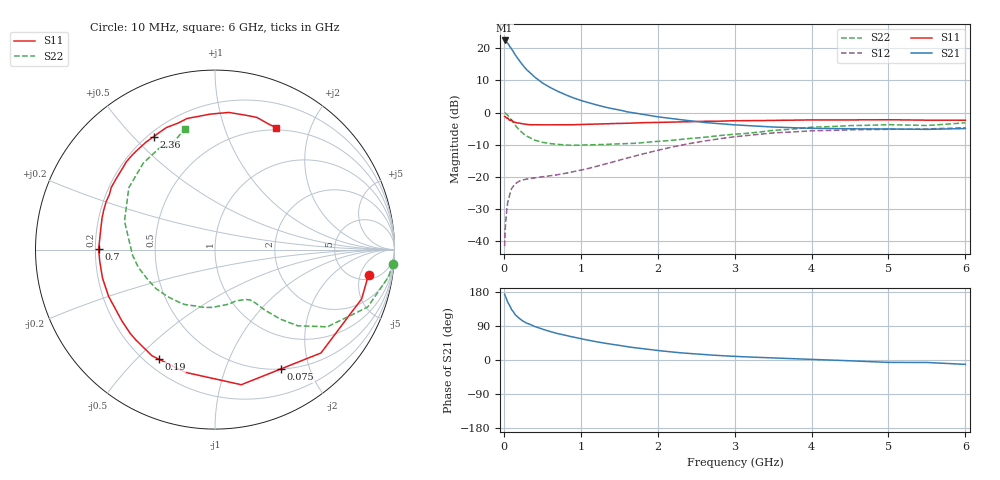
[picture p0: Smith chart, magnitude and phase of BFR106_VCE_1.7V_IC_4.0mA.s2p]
! Infineon Technologies  Discrete & RF Semiconductors
! BFR106
! VCE =  1.7 V,  IC =  4.0 mA
! Common Emitter S-Parameters:  Nov 2015
# GHz  S  MA  R  50
!  f  S11  S21  S12  S22
! GHz  MAG  ANG  MAG  ANG  MAG  ANG  MAG  ANG
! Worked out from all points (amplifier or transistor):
!   210 points, 10 MHz to 6 GHz, reference 50 ohm
!   highest |S21| = 22.5 dB at 10 MHz (marker M1)
!   |S21| within 3 dB of that: start of sweep to 110.7 MHz
!   unconditionally stable (mu >= 1): 656.6 MHz to 2.311 GHz; 3.646 GHz to end of sweep
!   at 185 MHz: K = 0.34, MSG = 19.2 dB, |S12| = -21.6 dB
!   at 1.52 GHz: K = 1.16, MAG = 5.3 dB, |S12| = -14.7 dB
!   at 6 GHz: K = 1.02, MAG = -1.1 dB, |S12| = -4.7 dB
!   S11 on the Smith chart (normalised r, x): 10 MHz: 6.13, -6.92; 75 MHz: 0.50, -1.58; 190 MHz: 0.25, -0.58; 700 MHz: 0.21, +0.00; 2.36 GHz: 0.22, +0.57; 6 GHz: 0.47, +1.51
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0.01  0.8669 -9.3  13.27 173.7  0.0083 86.0  0.992 -4.5
0.02  0.862 -18.6  13.14 168.7  0.0167 80.9  0.9798 -8.8
0.05  0.8248 -44.3  12.04 152.6  0.0395 67.0  0.9089 -20.6
0.075  0.7597 -61.0  10.79 143.9  0.052 57.6  0.8281 -26.9
0.1  0.7669 -79.0  9.861 133.3  0.0654 52.0  0.7595 -34.5
0.15  0.7036 -103.7  7.871 118.8  0.0782 41.9  0.6257 -42.7
0.19  0.686 -117.3  6.728 111.9  0.0838 37.9  0.5544 -45.6
0.2  0.6878 -120.7  6.461 109.8  0.0853 37.0  0.5369 -46.5
0.24  0.6693 -131.1  5.588 104.0  0.0885 34.3  0.4832 -48.5
0.26  0.6639 -135.5  5.223 101.4  0.0899 33.4  0.4616 -49.4
0.3  0.6533 -142.7  4.607 97.0  0.0923 32.4  0.4284 -50.8
0.4  0.6475 -156.3  3.577 88.4  0.0961 32.0  0.3721 -52.9
0.5  0.6464 -165.7  2.898 81.3  0.0995 33.2  0.3437 -54.9
0.7  0.6483 179.8  2.144 69.7  0.1077 38.1  0.3196 -61.4
1.02  0.654 163.6  1.519 55.4  0.128 47.3  0.312 -74.0
1.4  0.6739 149.1  1.154 41.7  0.1675 54.6  0.3223 -92.5
2.02  0.7027 128.8  0.852 24.7  0.2615 54.7  0.3566 -125.7
2.36  0.7166 118.5  0.759 18.0  0.3199 50.7  0.3885 -144.3
3.1  0.7467 100.1  0.633 8.6  0.4315 37.2  0.4686 179.1
4.1  0.7673 82.9  0.566 1.0  0.522 18.1  0.5949 141.2
5.1  0.7697 71.4  0.553 -6.3  0.55 3.4  0.6439 116.7
6  0.7594 63.5  0.563 -11.6  0.5798 -6.6  0.6937 103.9
